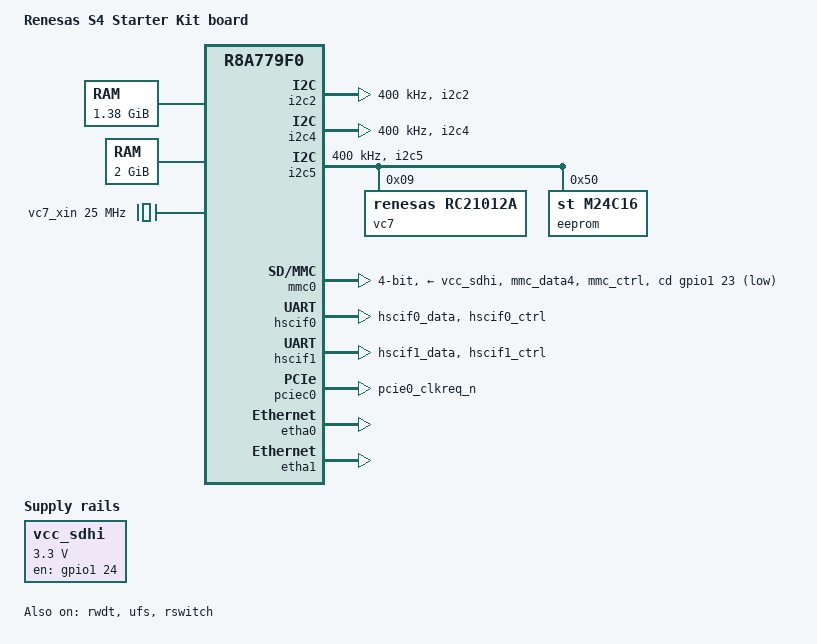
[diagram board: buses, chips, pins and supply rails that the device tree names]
// SPDX-License-Identifier: (GPL-2.0 or MIT)
/*
 * Device Tree Source for the S4 Starter Kit board
 *
 * Copyright (C) 2023 Renesas Electronics Corp.
 */

/dts-v1/;
#include <dt-bindings/gpio/gpio.h>
#include "r8a779f0.dtsi"

/ {
	model = "Renesas S4 Starter Kit board";
	compatible = "renesas,s4sk", "renesas,r8a779f0";

	aliases {
		serial0 = &hscif0;
		serial1 = &hscif1;
		eth0	= &rswitch;
	};

	chosen {
		stdout-path = "serial0:921600n8";
	};

	memory@48000000 {
		device_type = "memory";
		/* first 128MB is reserved for secure area. */
		/* The last 512MB is reserved for CR. */
		reg = <0x0 0x48000000 0x0 0x58000000>;
	};

	memory@480000000 {
		device_type = "memory";
		reg = <0x4 0x80000000 0x0 0x80000000>;
	};

	vc7_xin: vc7_xin {
		compatible = "fixed-clock";
		clock-frequency = <25000000>;
		#clock-cells = <0>;
	};

	vcc_sdhi: regulator-vcc-sdhi {
		compatible = "regulator-fixed";
		regulator-name = "SDHI Vcc";
		regulator-min-microvolt = <3300000>;
		regulator-max-microvolt = <3300000>;
		gpio = <&gpio1 24 GPIO_ACTIVE_HIGH>;
		enable-active-high;
	};
};

&extal_clk {
	clock-frequency = <20000000>;
};

&extalr_clk {
	clock-frequency = <32768>;
};

&i2c2 {
	pinctrl-0 = <&i2c2_pins>;
	pinctrl-names = "default";

	status = "okay";
	clock-frequency = <400000>;
};

&i2c4 {
	pinctrl-0 = <&i2c4_pins>;
	pinctrl-names = "default";

	status = "okay";
	clock-frequency = <400000>;
};

&i2c5 {
	pinctrl-0 = <&i2c5_pins>;
	pinctrl-names = "default";

	status = "okay";
	clock-frequency = <400000>;

	vc7@9 {
		compatible = "renesas,rc21012a";
		reg = <0x9>;
		#clock-cells = <1>;
		clocks = <&vc7_xin>;
		clock-names = "xin";
	};

	eeprom@50 {
		compatible = "st,m24c16", "atmel,24c16";
		reg = <0x50>;
		pagesize = <16>;
	};
};

&mmc0 {
	pinctrl-0 = <&sd_pins>;
	pinctrl-1 = <&sd_pins>;
	pinctrl-names = "default", "state_uhs";

	vmmc-supply = <&vcc_sdhi>;
	vqmmc-supply = <&vcc_sdhi>;
	cd-gpios = <&gpio1 23 GPIO_ACTIVE_LOW>;
	bus-width = <4>;
	status = "okay";
};

&pfc {
	pinctrl-0 = <&scif_clk_pins>;
	pinctrl-names = "default";

	i2c2_pins: i2c2 {
		groups = "i2c2";
		function = "i2c2";
	};

	i2c4_pins: i2c4 {
		groups = "i2c4";
		function = "i2c4";
	};

	i2c5_pins: i2c5 {
		groups = "i2c5";
		function = "i2c5";
	};

	sd_pins: sd {
		groups = "mmc_data4", "mmc_ctrl";
		function = "mmc";
		power-source = <3300>;
	};

	qspi0_pins: qspi0 {
		groups = "qspi0_ctrl", "qspi0_data4";
		function = "qspi0";
	};

	scif0_pins: scif0 {
		groups = "scif0_data", "scif0_ctrl";
		function = "scif0";
	};

	scif3_pins: scif3 {
		groups = "scif3_data", "scif3_ctrl";
		function = "scif3";
	};

	hscif0_pins: hscif0 {
		groups = "hscif0_data", "hscif0_ctrl";
		function = "hscif0";
	};

	hscif1_pins: hscif1 {
		groups = "hscif1_data", "hscif1_ctrl";
		function = "hscif1";
	};

	scif_clk_pins: scif_clk {
		groups = "scif_clk";
		function = "scif_clk";
	};

	pcie0_pins: pcie0 {
		groups = "pcie0_clkreq_n";
		function = "pcie";
	};

	pcie1_pins: pcie1 {
		groups = "pcie0_clkreq_n", "pcie1_clkreq_n";
		function = "pcie";
	};

	tsn0_pins: tsn0 {
		mux {
			groups = "tsn0_link", "tsn0_mdio";
			function = "tsn0";
			drive-strength = <18>;
			power-source = <3300>;
		};

		pins_mdio {
			groups = "tsn0_mdio";
			drive-strength = <18>;
			power-source = <3300>;
		};
	};

	tsn1_pins: tsn1 {
		mux {
			groups = "tsn1_link", "tsn1_mdio";
			function = "tsn1";
			drive-strength = <18>;
			power-source = <3300>;
		};

		pins_mdio {
			groups = "tsn1_mdio";
			drive-strength = <18>;
			power-source = <3300>;
		};
	};
};

&rwdt {
	timeout-sec = <60>;
	status = "okay";
};

&scif0 {
	pinctrl-0 = <&scif0_pins>;
	pinctrl-names = "default";

	uart-has-rtscts;
	/* Please use exclusively to the hscif1 node */
	status = "disabled";
};

&scif3 {
	pinctrl-0 = <&scif3_pins>;
	pinctrl-names = "default";

	uart-has-rtscts;
	/* Please use exclusively to the hscif0 node */
	status = "disabled";
};

&hscif0 {
	pinctrl-0 = <&hscif0_pins>;
	pinctrl-names = "default";

	uart-has-rtscts;
	status = "okay";
};

&hscif1 {
	pinctrl-0 = <&hscif1_pins>;
	pinctrl-names = "default";

	uart-has-rtscts;
	/* Please use exclusively to the scif0 node */
	status = "okay";
};

&scif_clk {
	clock-frequency = <24000000>;
};

&pcie_bus_clk {
	clock-frequency = <100000000>;
};

&pciec0 {
	status = "okay";
	pinctrl-0 = <&pcie0_pins>;
	pinctrl-names = "default";
	clkreq-gpios = <&gpio2 15 GPIO_ACTIVE_LOW>;
};

&pciec1_ep {
	status = "disabled";
	pinctrl-0 = <&pcie1_pins>;
	pinctrl-names = "default";
	clkreq-gpios = <&gpio2 16 GPIO_ACTIVE_LOW>;
};

&ufs {
	status = "okay";
};

&ufs30_clk {
	clock-frequency = <38400000>;
};

&rswitch {
	pinctrl-0 = <&tsn0_pins>, <&tsn1_pins>;
	pinctrl-names = "default";
	#address-cells = <1>;
	#size-cells = <0>;
	status = "okay";

	ports {
		#address-cells = <1>;
		#size-cells = <0>;
		tsn0: port@0 {
			reg = <0>;
			phy-handle = <&etha0>;
			#address-cells = <1>;
			#size-cells = <0>;
			etha0: ethernet-phy@1 {
				reg = <1>;
				compatible = "ethernet-phy-ieee802.3-c45";
			};
		};
		tsn1: port@1 {
			reg = <1>;
			phy-handle = <&etha1>;
			#address-cells = <1>;
			#size-cells = <0>;
			etha1: ethernet-phy@2 {
				reg = <2>;
				compatible = "ethernet-phy-ieee802.3-c45";
			};
		};
	};
};
